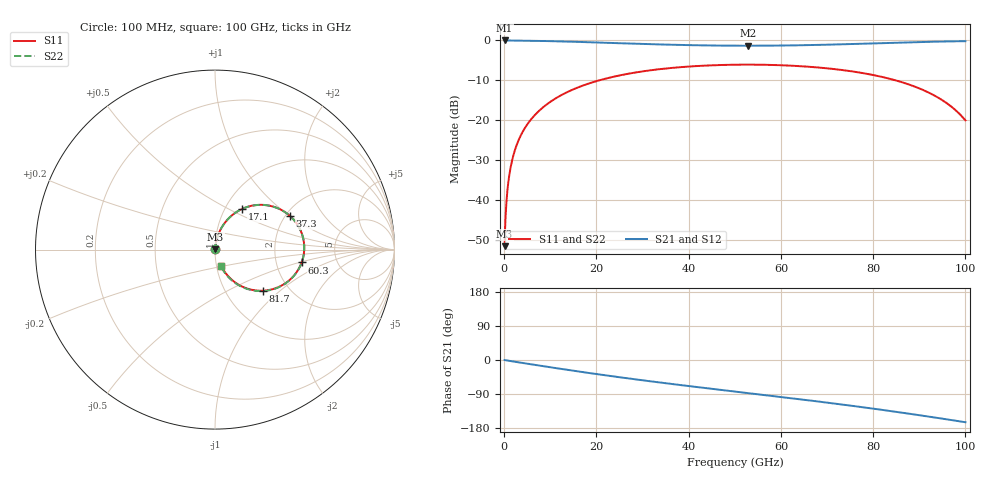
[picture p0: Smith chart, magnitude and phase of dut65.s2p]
! Touchstone file exported from HFSS 2026.1.0
!  File:  C:/ffzhzh/LocalFiles/Ansys_Project_Files/temp_train_RDL_65_1783498532_9504.aedt
!  Generated:  04:16:49 PM Jul  8, 2026
!  Design:  RDL
!  Project:  temp_train_RDL_65_1783498532_9504
! Variables:
!  h_bsmrdl = 2um
!  h_ox = 20um
!  h_rdl = 5um
!  h_sub = 80um
!  h_tmrdl = 4.6um
!  h_tsv = 80um
!  h_via = 3um
!  l_bsmrdl = 300um
!  l_sub = 946.29um
!  l_tmrdl = 546.29um
!  m_sub = 200um
!  pitch = 54.76um
!  r_tsv = 6um
!  s_tmrdl = 10um
!  w_bsmrdl = 18um
!  w_sub = 500um
!  w_tmrdl = 27.88um
!  x_tsv_center1 = 560.23um
!  x_tsv_center2 = 878.23um
!  x_tsv_center3 = 1452.4um
!  x_tsv_center4 = 1770.4um
!  x_tsv_center5 = 2344.57um
!  x_tsv_center6 = 2662.57um
# GHz S MA R 50.000000
! Terminal data exported
! Port[1] = TM_RDL1_1_T1
! Port[2] = TM_RDL1_1_T2
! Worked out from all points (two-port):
!   1000 points, 100 MHz to 100 GHz, reference 50 ohm
!   highest |S21| = -0.02 dB at 100 MHz (marker M1); lowest = -1.3 dB at 52.9 GHz (marker M2)
!   |S21| within 3 dB of the highest: start of sweep to end of sweep
!   lowest |S11| = -51.5 dB at 100 MHz (marker M3), VSWR 1.01, Z = 50.2 + j0.203 ohm
!   |S11| at or under -10 dB: start of sweep to 20.59 GHz; 84.87 GHz to end of sweep
!   |S22| runs from -51.5 to -6.1 dB; largest |S21 - S12| = 1.7e-14
!   S11 on the Smith chart (normalised r, x): 100 MHz: 1.00, +0.00; 17.1 GHz: 1.20, +0.59; 37.3 GHz: 2.11, +1.00; 60.3 GHz: 2.79, -0.53; 81.7 GHz: 1.48, -0.78; 100 GHz: 1.06, -0.20
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0.1  0.00266 49.4  0.9983 -0.2  0.9983 -0.2  0.00266 49.4
! Gamma 0 0 0 0
! Port Impedance 50 0 50 0
0.8  0.0149 79.8  0.9977 -1.6  0.9977 -1.6  0.0149 79.8
1.4  0.02567 81.8  0.9972 -2.8  0.9972 -2.8  0.02567 81.8
2.4  0.04353 81.4  0.9961 -4.7  0.9961 -4.7  0.04353 81.4
3.9  0.0698 79.2  0.9937 -7.6  0.9937 -7.6  0.06981 79.2
6.1  0.1071 75.5  0.9892 -11.8  0.9892 -11.8  0.1071 75.5
8.9  0.1528 70.6  0.982 -17.1  0.982 -17.1  0.1528 70.5
12.5  0.2081 64.2  0.9708 -23.8  0.9708 -23.8  0.2082 64.2
16.8  0.2686 56.8  0.9551 -31.5  0.9551 -31.5  0.2686 56.8
17.1  0.2726 56.3  0.9539 -32.0  0.9539 -32.0  0.2726 56.3
24.4  0.3582 44.1  0.9245 -44.5  0.9245 -44.5  0.3582 44.1
33.4  0.4344 30.1  0.8911 -58.8  0.8911 -58.8  0.4344 30.0
37.3  0.4577 24.3  0.8794 -64.7  0.8794 -64.7  0.4577 24.2
50.1  0.4964 5.9  0.8584 -83.4  0.8584 -83.4  0.4964 5.8
52.9  0.4975 2.0  0.8576 -87.4  0.8576 -87.4  0.4976 1.9
60.3  0.4881 -8.5  0.8627 -98.0  0.8627 -98.0  0.4882 -8.6
66.7  0.465 -17.7  0.8748 -107.4  0.8748 -107.4  0.4651 -17.9
81.7  0.3515 -40.7  0.9235 -131.2  0.9235 -131.2  0.3516 -41.0
83.4  0.3331 -43.4  0.9299 -134.0  0.9299 -134.0  0.3332 -43.8
93.2  0.2054 -59.5  0.9634 -151.4  0.9634 -151.4  0.2055 -60.2
96.7  0.1523 -64.9  0.9723 -158.0  0.9723 -158.0  0.1523 -65.9
100  0.09973 -68.9  0.9782 -164.2  0.9782 -164.2  0.09964 -70.5
